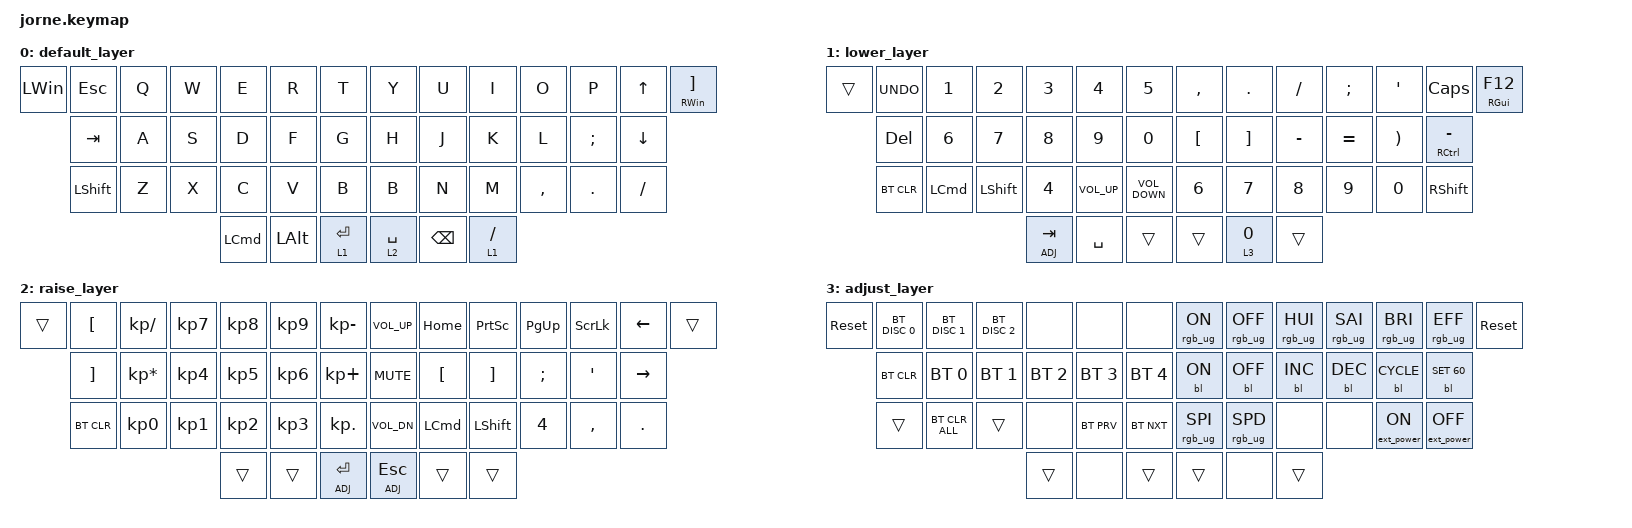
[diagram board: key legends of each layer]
/*
 * Copyright (c) 2020 The ZMK Contributors
 *
 * SPDX-License-Identifier: MIT
 */

#include <behaviors.dtsi>
#include <dt-bindings/zmk/backlight.h>
#include <dt-bindings/zmk/bt.h>
#include <dt-bindings/zmk/ext_power.h>
#include <dt-bindings/zmk/keys.h>
#include <dt-bindings/zmk/rgb.h>

&led_strip { chain-length = <56>; };

#define DEF 0
#define LWR 1
#define RSE 2
#define ADJ 3

/ {
    keymap {
        compatible = "zmk,keymap";

        default_layer {
            // -----------------------------------------------------------------------------------------
            // |  GUI |   ~  |  Q  |  W  |  E  |  R  |  T  |   |  Y  |  U   |  I  |  O  |  P  |  [   | GUI/] |
            //        | CTRL |  A  |  S  |  D  |  F  |  G  |   |  H  |  J   |  K  |  L  |  ;  |CTRL/'|
            //        | LALT |  Z  |  X  |  C  |  V  |  B  |   |  N  |  M   |  ,  |  .  |  /  | RALT |
            //                           | RSE | SPC | LWR |   | LWR | BKSP | RSE |

            bindings = <
&kp LWIN  &kp ESC         &kp Q  &kp W  &kp E             &kp R         &kp T          &kp Y        &kp U          &kp I        &kp O      &kp P     &kp UP_ARROW    &mt RWIN RBKT
          &kp TAB         &kp A  &kp S  &kp D             &kp F         &kp G          &kp H        &kp J          &kp K        &kp L      &kp SEMI  &kp DOWN_ARROW
          &kp LEFT_SHIFT  &kp Z  &kp X  &kp C             &kp V         &kp B          &kp B        &kp N          &kp M        &kp COMMA  &kp DOT   &kp FSLH
                                        &kp LEFT_COMMAND  &kp LEFT_ALT  &lt 1 ENTER    &lt 2 SPACE  &kp BACKSPACE  &lt 1 SLASH
            >;
        };

        lower_layer {
            // -----------------------------------------------------------------------------------------
            // |     |  _  |  F1 |  F2 |  F3 |  F4 |  F5 |   |  F6 |  F7 |  F8 |  F9 | F10 | F11 | F12 |
            //       |  +  |  !  |  @  |  #  |  $  |  %  |   |  ^  |  &  |  *  |  (  |  )  |  -  |
            //       |  =  |  1  |  2  |  3  |  4  |  5  |   |  6  |  7  |  8  |  9  |  0  |     |
            //                    | GUI |     | SPC |   | ENT |     | ALT |

            bindings = <
&trans  &kp K_UNDO  &kp N1            &kp N2          &kp N3       &kp N4           &kp N5               &kp COMMA         &kp DOT            &kp SLASH  &kp SEMICOLON  &kp SQT   &kp CAPSLOCK     &mt RGUI F12
        &kp DELETE  &kp N6            &kp N7          &kp N8       &kp N9           &kp N0               &kp LEFT_BRACKET  &kp RIGHT_BRACKET  &kp MINUS  &kp EQUAL      &kp RPAR  &mt RCTRL MINUS
        &bt BT_CLR  &kp LEFT_COMMAND  &kp LEFT_SHIFT  &kp N4       &kp C_VOLUME_UP  &kp C_VOLUME_DOWN    &kp N6            &kp N7             &kp N8     &kp N9         &kp N0    &kp RIGHT_SHIFT
                                                      &lt ADJ TAB  &kp SPACE        &trans               &trans            &lt 3 N0           &trans
            >;
        };

        raise_layer {
            // -----------------------------------------------------------------------------------------
            // |     | NMLK |  /  |  7  |  8  |  9  |  -  |   | VOLU| HOME| PRSC| PGUP| SCLK| CLCK|     |
            //       | CTRL |  *  |  4  |  5  |  6  |  +  |   | MUT | LEFT|  UP | RGHT| INS | APP |
            //       |      |  0  |  1  |  2  |  3  |  .  |   | VOLD| END | DOWN| PGDN| PAUS|     |
            //                          |     |     | ADJ |   | ADJ |     |     |

            bindings = <
&trans  &kp LEFT_BRACKET   &kp KP_SLASH     &kp KP_N7  &kp KP_N8  &kp KP_N9  &kp KP_MINUS    &kp C_VOL_UP  &kp HOME          &kp PSCRN          &kp PG_UP      &kp SLCK   &kp LEFT_ARROW   &trans
        &kp RIGHT_BRACKET  &kp KP_MULTIPLY  &kp KP_N4  &kp KP_N5  &kp KP_N6  &kp KP_PLUS     &kp C_MUTE    &kp LEFT_BRACKET  &kp RIGHT_BRACKET  &kp SEMICOLON  &kp SQT    &kp RIGHT_ARROW
        &bt BT_CLR         &kp KP_N0        &kp KP_N1  &kp KP_N2  &kp KP_N3  &kp KP_DOT      &kp C_VOL_DN  &kp LEFT_COMMAND  &kp LEFT_SHIFT     &kp NUMBER_4   &kp COMMA  &kp PERIOD
                                                       &trans     &trans     &lt ADJ RET     &lt ADJ ESC   &trans            &trans
            >;
        };

        adjust_layer {
            // -----------------------------------------------------------------------------------------
            // | RST | BLDR |     |     |     |     |     |   |     |     |     |     |     | BLDR | RST |
            //       | BTCLR| BT0 | BT1 | BT2 | BT3 | BT4 |   | BT4 | BT3 | BT2 | BT1 | BT0 | BTCLR|
            //       |      |     |     |     |     |     |   |     |     |     |     |     |      |
            //                          |     |     |     |   |     |     |     |

            bindings = <
&sys_reset  &bt BT_DISC 0  &bt BT_DISC 1   &bt BT_DISC 2  &none         &none         &none           &rgb_ug RGB_ON   &rgb_ug RGB_OFF  &rgb_ug RGB_HUI  &rgb_ug RGB_SAI  &rgb_ug RGB_BRI   &rgb_ug RGB_EFF    &sys_reset
            &bt BT_CLR     &bt BT_SEL 0    &bt BT_SEL 1   &bt BT_SEL 2  &bt BT_SEL 3  &bt BT_SEL 4    &bl BL_ON        &bl BL_OFF       &bl BL_INC       &bl BL_DEC       &bl BL_CYCLE      &bl BL_SET 60
            &trans         &bt BT_CLR_ALL  &trans         &none         &bt BT_PRV    &bt BT_NXT      &rgb_ug RGB_SPI  &rgb_ug RGB_SPD  &none            &none            &ext_power EP_ON  &ext_power EP_OFF
                                                          &trans        &none         &trans          &trans           &none            &trans
            >;
        };
    };
};
